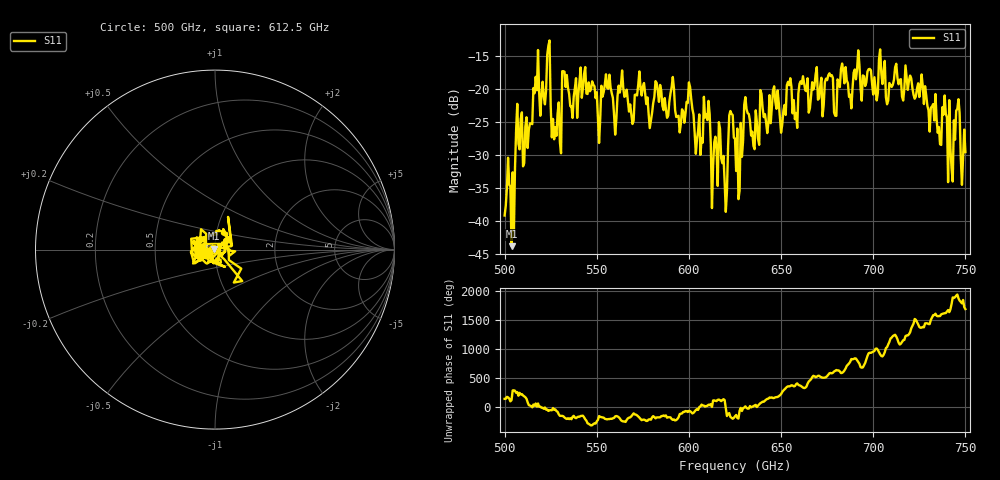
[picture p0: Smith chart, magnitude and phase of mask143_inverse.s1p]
!Created with skrf (http://scikit-rf.org).
# GHz S MA R 50.0
!freq magS11 angS11
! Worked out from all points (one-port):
!   401 points, 500 GHz to 750 GHz, reference 50 ohm
!   lowest |S11| = -43.9 dB at 503.8 GHz (marker M1), VSWR 1.01, Z = 49.6 + j0.521 ohm
!   |S11| at or under -10 dB: start of sweep to end of sweep
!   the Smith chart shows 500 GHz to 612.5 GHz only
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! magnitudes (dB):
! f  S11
! 500 GHz  -39.2
! 503.8 GHz  -43.9
! 507.5 GHz  -28.4
! 511.2 GHz  -25.8
! 516.9 GHz  -18.2
! 523.8 GHz  -13.5
! 526.9 GHz  -27.7
! 531.2 GHz  -17.4
! 532.5 GHz  -17.4
! 550.6 GHz  -24.4
! 562.5 GHz  -20.6
! 593.8 GHz  -24.2
! 600 GHz  -19.1
! 605 GHz  -26.3
! 609.4 GHz  -23.9
! 619.4 GHz  -34.1
! 622.5 GHz  -23.4
! 625 GHz  -27.6
! 626.2 GHz  -26.0
! 631.2 GHz  -23.1
! 634.4 GHz  -26.5
! 656.2 GHz  -23.7
! 687.5 GHz  -20.9
! 718.8 GHz  -20.2
! 738.8 GHz  -21.0
! 741.9 GHz  -29.0
! 745.6 GHz  -23.1
! 750 GHz  -29.6
